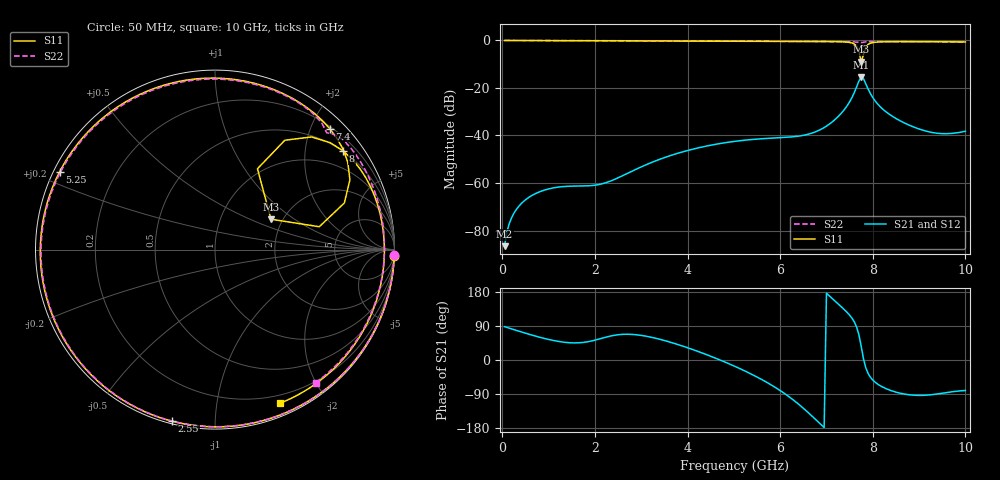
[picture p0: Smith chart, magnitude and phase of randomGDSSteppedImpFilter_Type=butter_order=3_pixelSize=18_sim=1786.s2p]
! freq	dB(S11)	phase(S11)	dB(S12)	phase(S12)
!  dB(S21)	phase(S21)	dB(S22)	phase(S22)
!S-par simulation data
#  GHz  S  DB  R 50
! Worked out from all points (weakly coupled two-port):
!   200 points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, 50 MHz to 10 GHz, reference 50 ohm
!   highest |S21| = -15.46 dB at 7.75 GHz (marker M1); lowest = -86.6 dB at 50 MHz (marker M2)
!   lowest |S11| = -9.0 dB at 7.75 GHz (marker M3), VSWR 2.10, Z = 87.1 + j33.7 ohm
!   |S11| at or under -10 dB: nowhere
!   |S22| runs from -0.9 to 0.0 dB; largest |S21 - S12| = 0
!   S11 on the Smith chart (normalised r, x): 50 MHz: 1, -52; 2.55 GHz: 0.01, -0.78; 5.25 GHz: 0.02, +0.24; 7.4 GHz: 0.23, +2.31; 8 GHz: 0.49, +2.87; 10 GHz: 0.12, -1.51
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0.05  -0.01 -2.2  -86.58 87.9  -86.58 87.9  -0.00 -1.9
0.1  -0.01 -4.3  -80.59 85.9  -80.59 85.9  -0.01 -3.7
0.35  -0.02 -15.1  -69.94 76.3  -69.94 76.3  -0.02 -12.8
0.65  -0.03 -27.9  -65.13 65.3  -65.13 65.3  -0.03 -23.8
1.75  -0.09 -73.1  -61.24 46.4  -61.24 46.4  -0.08 -63.2
2.55  -0.13 -104.1  -57.37 67.3  -57.37 67.3  -0.12 -91.4
3.4  -0.17 -135.8  -50.02 54.7  -50.02 54.7  -0.16 -121.4
4.25  -0.21 -167.4  -45.13 21.5  -45.13 21.5  -0.21 -152.5
5.05  -0.27 161.6  -42.39 -18.3  -42.39 -18.3  -0.28 176.1
5.25  -0.28 153.4  -41.94 -29.6  -41.94 -29.6  -0.30 167.7
5.95  -0.34 123.2  -40.98 -76.6  -40.98 -76.6  -0.36 136.5
6.7  -0.40 87.1  -38.92 -149.3  -38.92 -149.3  -0.43 99.7
7.4  -0.64 46.5  -28.74 131.3  -28.74 131.3  -0.51 63.1
7.65  -2.32 19.8  -19.62 87.4  -19.62 87.4  -0.71 49.7
7.7  -4.51 12.4  -17.10 66.9  -17.10 66.9  -0.84 47.5
7.75  -9.00 28.5  -15.46 36.1  -15.46 36.1  -0.91 46.3
7.8  -5.87 62.3  -16.13 2.8  -16.13 2.8  -0.76 44.9
7.85  -2.82 57.4  -18.26 -20.9  -18.26 -20.9  -0.60 42.3
8  -0.90 37.6  -24.04 -52.8  -24.04 -52.8  -0.48 33.9
8.35  -0.53 12.7  -30.97 -78.8  -30.97 -78.8  -0.48 16.0
9.2  -0.53 -31.2  -38.40 -92.4  -38.40 -92.4  -0.54 -22.4
10  -0.64 -66.9  -38.21 -80.6  -38.21 -80.6  -0.64 -52.9
